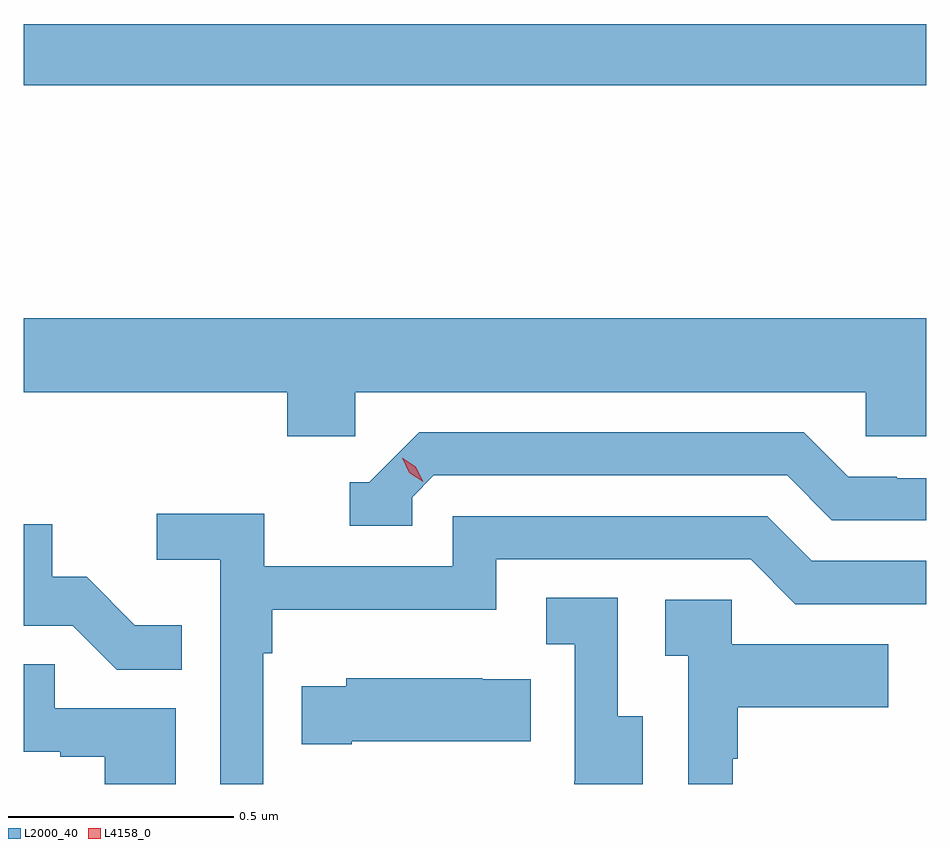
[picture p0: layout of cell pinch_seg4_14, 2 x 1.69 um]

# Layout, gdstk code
import gdstk
lib = gdstk.Library(unit=1e-6, precision=1e-09)
def R(c, l, rs):  # rectangles x0, y0, x1, y1
    for r in rs: c.add(gdstk.rectangle(r[:2], r[2:], *l))
def P(c, l, *ps):  # polygons
    for p in ps: c.add(gdstk.Polygon(p, *l))
L2000_40 = (2000, 40)
L4158_0 = (4158, 0)

pinch_seg4_14 = lib.new_cell('pinch_seg4_14')
R(pinch_seg4_14, L2000_40, [(1106.445,816.148,1108.445,816.284)])
P(pinch_seg4_14, L2000_40, [(1106.445,815.468),(1107.029,815.468),(1107.029,815.37),(1107.18,815.37),(1107.18,815.468),(1108.311,815.468),(1108.311,815.37),(1108.445,815.37),(1108.445,815.632),(1106.445,815.632)],
  [(1107.306,815.235),(1107.354,815.283),(1108.137,815.283),(1108.236,815.184),(1108.445,815.184),(1108.445,815.277),(1108.38,815.277),(1108.38,815.28),(1108.273,815.28),(1108.174,815.379),(1107.321,815.379),(1107.21,815.268),(1107.167,815.268),(1107.167,815.172),(1107.306,815.172)],
  [(1106.976,814.889),(1106.996,814.889),(1106.996,814.985),(1107.492,814.985),(1107.492,815.097),(1108.056,815.097),(1108.155,814.998),(1108.445,814.998),(1108.445,815.094),(1108.192,815.094),(1108.093,815.193),(1107.396,815.193),(1107.396,815.082),(1106.978,815.082),(1106.978,815.198),(1106.739,815.198),(1106.739,815.096),(1106.88,815.096),(1106.88,814.599),(1106.976,814.599)],
  [(1106.795,814.951),(1106.691,814.951),(1106.584,815.058),(1106.508,815.058),(1106.508,815.175),(1106.445,815.175),(1106.445,814.95),(1106.553,814.95),(1106.651,814.852),(1106.795,814.852)],
  [(1107.817,814.749),(1107.762,814.749),(1107.762,815.012),(1107.603,815.012),(1107.603,814.909),(1107.666,814.909),(1107.666,814.605),(1107.665,814.605),(1107.665,814.599),(1107.817,814.599)],
  [(1108.017,814.655),(1108.027,814.655),(1108.027,814.769),(1108.361,814.769),(1108.361,814.909),(1108.014,814.909),(1108.014,815.007),(1107.867,815.007),(1107.867,814.883),(1107.918,814.883),(1107.918,814.599),(1108.017,814.599)],
  [(1106.782,814.767),(1106.513,814.767),(1106.513,814.865),(1106.445,814.865),(1106.445,814.671),(1106.525,814.671),(1106.525,814.659),(1106.624,814.659),(1106.624,814.599),(1106.782,814.599)],
  [(1107.172,814.694),(1107.569,814.694),(1107.569,814.831),(1107.461,814.831),(1107.461,814.834),(1107.159,814.834),(1107.159,814.816),(1107.061,814.816),(1107.061,814.687),(1107.172,814.687)])
P(pinch_seg4_14, L4158_0, [(1107.33,815.269),(1107.299,815.289),(1107.284,815.322),(1107.284,815.322),(1107.284,815.322),(1107.314,815.302),(1107.33,815.269),(1107.33,815.269)])

lib.write_gds('pinch_seg4_14.gds')
